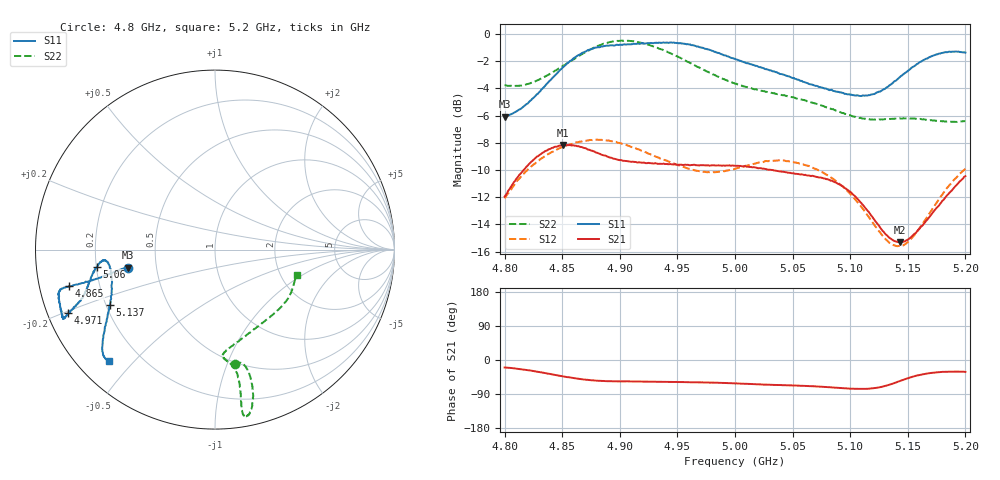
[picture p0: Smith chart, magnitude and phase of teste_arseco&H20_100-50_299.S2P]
! Network Analyzer HP8722D
! Hewlett-Packard
! Data name: Linha & Wilkinson
! Saver's name: Rodrigo Anjos
! Comments: Teste da utilização de aquisição
! continua pelo VNA HP8722D
! Time and date: 6/5/2025 15:03
!  Frequency  S11  S21  S12  S22
# HZ  S  MA R 50
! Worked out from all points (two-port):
!   401 points, 4.8 GHz to 5.2 GHz, reference 50 ohm
!   highest |S21| = -8.16 dB at 4.851 GHz (marker M1); lowest = -15.3 dB at 5.143 GHz (marker M2)
!   |S21| within 3 dB of the highest: 4.806 GHz to 5.093 GHz (286.5 MHz wide, 5.79 % of centre); 5.191747 GHz to end of sweep
!   lowest |S11| = -6.1 dB at 4.8 GHz (marker M3), VSWR 2.97, Z = 17 - j4.57 ohm
!   |S11| at or under -10 dB: nowhere
!   |S22| runs from -6.5 to -0.5 dB; largest |S21 - S12| = 0.62
!   S11 on the Smith chart (normalised r, x): 4.8 GHz: 0.34, -0.09; 4.865 GHz: 0.09, -0.12; 4.971 GHz: 0.06, -0.21; 5.06 GHz: 0.20, -0.07; 5.137 GHz: 0.22, -0.24; 5.2 GHz: 0.09, -0.43
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4.8e9  0.4963 -168.2  0.2521 -19.7  0.2487 -140.9  0.6483 -80.3
4.823e9  0.571 -167.5  0.3384 -28.1  0.3253 -143.7  0.6606 -75.9
4.851e9  0.7559 -165.7  0.3907 -43.4  0.3846 -149.2  0.7651 -74.5
4.865e9  0.8388 -166.0  0.3853 -49.9  0.4015 -151.7  0.8318 -75.2
4.867e9  0.8501 -165.8  0.3839 -50.7  0.4023 -152.0  0.842 -75.3
4.879e9  0.8909 -165.6  0.3668 -54.3  0.408 -154.0  0.8935 -76.5
4.899e9  0.9101 -162.9  0.3441 -56.4  0.3978 -156.7  0.9424 -79.1
4.934e9  0.9293 -156.4  0.3327 -57.4  0.3506 -155.7  0.8827 -80.4
4.971e9  0.8904 -156.6  0.329 -59.2  0.3117 -146.5  0.745 -79.7
5e9  0.8099 -159.0  0.3277 -61.9  0.3193 -137.2  0.6568 -81.4
5.036e9  0.7233 -165.7  0.3138 -65.9  0.3421 -134.4  0.6019 -85.7
5.06e9  0.6657 -171.6  0.3028 -68.3  0.3302 -136.1  0.5716 -84.4
5.067e9  0.6509 -173.1  0.3011 -69.0  0.323 -136.7  0.5589 -82.6
5.083e9  0.6227 -174.4  0.2886 -72.2  0.2976 -138.2  0.5312 -76.8
5.101e9  0.5979 -172.1  0.2609 -75.8  0.2556 -138.8  0.4999 -66.6
5.116e9  0.5955 -165.4  0.2219 -75.9  0.2127 -135.5  0.4862 -55.8
5.134e9  0.647 -154.1  0.178 -65.4  0.1706 -120.7  0.4867 -43.3
5.137e9  0.6601 -152.3  0.1747 -62.3  0.1677 -116.8  0.4875 -41.4
5.143e9  0.6921 -149.4  0.1714 -55.7  0.1662 -109.0  0.4894 -38.1
5.154e9  0.7548 -144.5  0.1811 -44.4  0.1787 -95.0  0.4887 -32.4
5.171e9  0.8283 -139.3  0.2184 -33.9  0.2259 -81.6  0.4812 -24.9
5.2e9  0.8537 -133.6  0.3 -31.3  0.3193 -77.0  0.4777 -17.5
